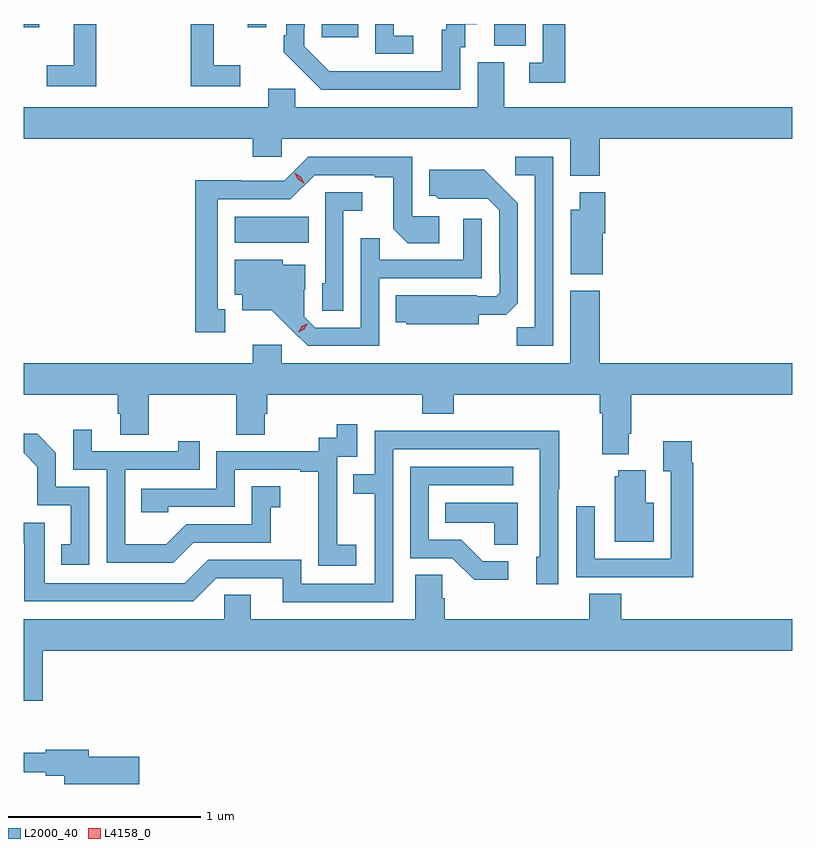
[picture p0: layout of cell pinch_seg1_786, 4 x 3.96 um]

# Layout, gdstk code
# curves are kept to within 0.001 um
import gdstk
lib = gdstk.Library(unit=1e-6, precision=1e-09)
def R(c, l, rs):  # rectangles x0, y0, x1, y1
    for r in rs: c.add(gdstk.rectangle(r[:2], r[2:], *l))
def P(c, l, *ps):  # polygons
    for p in ps: c.add(gdstk.Polygon(p, *l))
L2000_40 = (2000, 40)
L4158_0 = (4158, 0)

pinch_seg1_786 = lib.new_cell('pinch_seg1_786')
R(pinch_seg1_786, L2000_40, [(383.126,573.836,383.51,573.97), (384.476,574.861,384.64,574.974), (383.579,574.905,383.767,574.974), (382.027,574.956,382.107,574.974), (383.193,574.956,383.289,574.974)])
P(pinch_seg1_786, L2000_40, [(384.3,574.854),(384.325,574.854),(384.325,574.973),(384.388,574.974),(384.227,574.974),(384.227,574.944),(384.203,574.944),(384.203,574.728),(383.616,574.729),(383.487,574.857),(383.487,574.957),(383.49,574.957),(383.49,574.974),(383.394,574.974),(383.394,574.915),(383.379,574.915),(383.379,574.827),(383.576,574.632),(384.3,574.632)],
  [(384.845,574.974),(384.729,574.974),(384.729,574.773),(384.657,574.773),(384.657,574.668),(384.845,574.668)],
  [(382.403,574.974),(382.286,574.974),(382.286,574.759),(382.146,574.759),(382.146,574.65),(382.403,574.65)],
  [(383.155,574.759),(383.015,574.759),(383.015,574.974),(382.897,574.974),(382.897,574.65),(383.155,574.65)],
  [(384.055,574.914),(383.952,574.914),(383.952,574.974),(383.856,574.974),(383.856,574.818),(384.055,574.818)],
  [(385.025,574.376),(386.027,574.376),(386.027,574.54),(384.529,574.54),(384.529,574.776),(384.389,574.776),(384.389,574.54),(383.439,574.54),(383.439,574.638),(383.3,574.638),(383.3,574.54),(382.027,574.54),(382.027,574.376),(383.219,574.376),(383.219,574.283),(383.37,574.283),(383.37,574.376),(384.872,574.376),(384.872,574.184),(385.025,574.184)],
  [(384.783,574.284),(384.585,574.284),(384.585,574.188),(384.687,574.188),(384.687,573.395),(384.592,573.395),(384.592,573.3),(384.783,573.3)],
  [(383.077,573.489),(383.038,573.489),(383.038,574.062),(383.415,574.062),(383.541,574.188),(383.855,574.188),(383.855,574.176),(383.949,574.176),(383.949,573.908),(384.025,573.832),(384.19,573.832),(384.19,573.972),(384.048,573.972),(384.048,574.284),(383.508,574.284),(383.382,574.158),(383.16,574.158),(383.16,574.16),(382.92,574.16),(382.92,573.369),(383.077,573.369)],
  [(384.394,573.461),(384.538,573.461),(384.597,573.52),(384.597,574.042),(384.425,574.216),(384.137,574.216),(384.137,574.08),(384.168,574.08),(384.184,574.064),(384.441,574.065),(384.501,574.005),(384.501,573.676),(384.504,573.676),(384.504,573.576),(384.486,573.558),(384.386,573.558),(384.386,573.562),(383.962,573.562),(383.962,573.422),(384.018,573.422),(384.018,573.41),(384.394,573.41)],
  [(385.042,573.885),(385.055,573.885),(385.055,574.099),(384.92,574.099),(384.92,574.006),(384.875,574.006),(384.875,573.671),(385.042,573.671)],
  [(383.691,574.001),(383.788,574.001),(383.788,574.098),(383.595,574.098),(383.595,573.624),(383.58,573.624),(383.58,573.481),(383.691,573.481)],
  [(383.877,573.651),(384.411,573.651),(384.411,573.961),(384.315,573.961),(384.315,573.747),(383.879,573.747),(383.879,573.86),(383.781,573.86),(383.781,573.393),(383.544,573.393),(383.487,573.45),(383.487,573.592),(383.491,573.592),(383.491,573.721),(383.376,573.721),(383.376,573.748),(383.126,573.748),(383.126,573.564),(383.165,573.564),(383.165,573.485),(383.317,573.485),(383.504,573.3),(383.877,573.3)],
  [(382.027,573.044),(382.517,573.044),(382.517,572.946),(382.529,572.946),(382.529,572.836),(382.677,572.836),(382.677,573.044),(383.134,573.044),(383.134,572.836),(383.281,572.836),(383.281,572.946),(383.294,572.946),(383.294,573.044),(384.101,573.044),(384.101,572.945),(384.266,572.945),(384.266,573.044),(385.025,573.044),(385.025,572.948),(385.037,572.948),(385.037,572.735),(385.177,572.735),(385.177,572.842),(385.19,572.842),(385.19,573.044),(386.027,573.044),(386.027,573.208),(385.025,573.208),(385.025,573.586),(384.872,573.586),(384.872,573.208),(383.37,573.208),(383.37,573.304),(383.219,573.304),(383.219,573.208),(382.027,573.208)],
  [(383.758,572.263),(383.66,572.263),(383.66,572.492),(383.658,572.492),(383.658,572.721),(383.763,572.721),(383.763,572.89),(383.655,572.89),(383.655,572.82),(383.562,572.82),(383.562,572.751),(383.028,572.751),(383.028,572.556),(382.639,572.556),(382.639,572.433),(382.779,572.433),(382.779,572.46),(383.124,572.46),(383.124,572.655),(383.465,572.655),(383.465,572.643),(383.561,572.643),(383.561,572.359),(383.56,572.359),(383.56,572.153),(383.758,572.153)],
  [(382.909,572.274),(383.313,572.274),(383.313,572.459),(383.362,572.459),(383.362,572.569),(383.214,572.569),(383.214,572.37),(382.872,572.37),(382.768,572.266),(382.554,572.266),(382.554,572.655),(382.943,572.655),(382.943,572.803),(382.832,572.803),(382.832,572.751),(382.381,572.751),(382.381,572.863),(382.284,572.863),(382.284,572.655),(382.458,572.655),(382.458,572.169),(382.804,572.169)],
  [(383.949,572.76),(384.714,572.76),(384.714,572.202),(384.695,572.202),(384.695,572.058),(384.81,572.058),(384.81,572.551),(384.813,572.551),(384.813,572.858),(384.349,572.858),(384.349,572.856),(383.853,572.856),(383.853,572.631),(383.743,572.631),(383.743,572.53),(383.853,572.53),(383.853,572.061),(383.472,572.061),(383.472,572.184),(382.986,572.184),(382.866,572.064),(382.137,572.064),(382.137,572.379),(382.027,572.379),(382.027,572.271),(382.029,572.271),(382.029,571.968),(382.908,571.968),(383.028,572.088),(383.375,572.088),(383.375,571.965),(383.949,571.965)],
  [(382.368,572.565),(382.194,572.565),(382.194,572.742),(382.096,572.84),(382.027,572.84),(382.027,572.741),(382.098,572.67),(382.098,572.469),(382.271,572.469),(382.271,572.265),(382.222,572.265),(382.222,572.16),(382.368,572.16)],
  [(385.511,572.69),(385.504,572.69),(385.504,572.803),(385.355,572.803),(385.355,572.647),(385.395,572.647),(385.395,572.19),(384.999,572.19),(384.999,572.464),(384.903,572.464),(384.903,572.094),(385.219,572.094),(385.219,572.093),(385.511,572.093)],
  [(384.55,572.178),(384.415,572.178),(384.304,572.289),(384.135,572.289),(384.135,572.574),(384.574,572.574),(384.574,572.67),(384.039,572.67),(384.039,572.193),(384.258,572.193),(384.371,572.081),(384.55,572.081)],
  [(385.306,572.482),(385.264,572.482),(385.264,572.65),(385.121,572.65),(385.121,572.619),(385.103,572.619),(385.103,572.279),(385.306,572.279)],
  [(384.598,572.482),(384.22,572.482),(384.22,572.378),(384.477,572.378),(384.477,572.263),(384.598,572.263)],
  [(382.127,571.712),(386.027,571.712),(386.027,571.876),(385.136,571.876),(385.136,572.009),(384.971,572.009),(384.971,571.876),(384.218,571.876),(384.218,571.985),(384.204,571.985),(384.204,572.108),(384.065,572.108),(384.065,571.876),(383.209,571.876),(383.209,572.003),(383.07,572.003),(383.07,571.876),(382.027,571.876),(382.027,571.452),(382.127,571.452)],
  [(382.627,571.16),(382.366,571.16),(382.366,571.196),(382.142,571.196),(382.142,571.181),(382.027,571.181),(382.027,571.08),(382.142,571.08),(382.142,571.06),(382.238,571.06),(382.238,571.018),(382.627,571.018)])
P(pinch_seg1_786, L4158_0, [(383.456,573.37),(383.456,573.37),(383.474,573.4),(383.505,573.416),(383.505,573.416),(383.505,573.416),(383.488,573.386),(383.457,573.37)],
  [(383.485,574.146),(383.454,574.166),(383.438,574.199),(383.438,574.2),(383.438,574.2),(383.469,574.18),(383.486,574.146),(383.486,574.146)])

lib.write_gds('pinch_seg1_786.gds')
